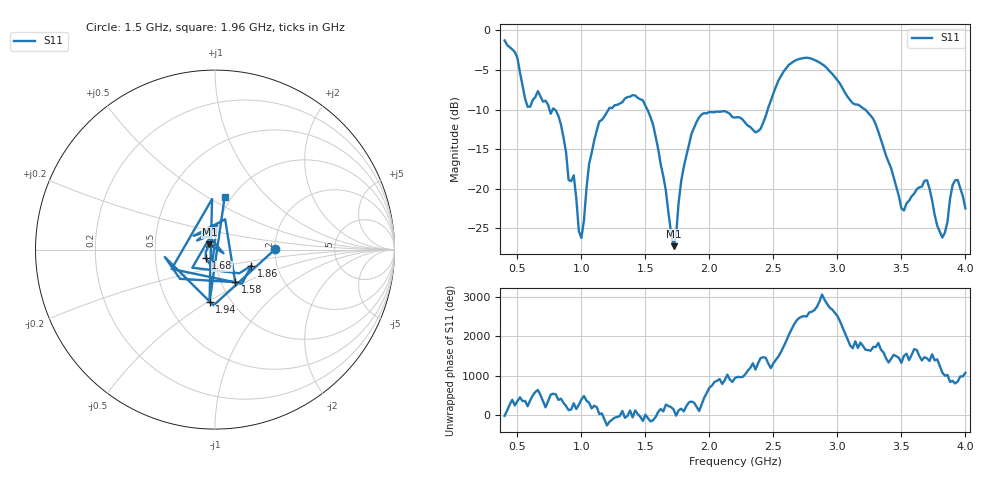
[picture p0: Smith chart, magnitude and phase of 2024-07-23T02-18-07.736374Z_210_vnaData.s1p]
!Created with skrf (http://scikit-rf.org).
# Hz S RI R 50.0
!freq ReS11 ImS11
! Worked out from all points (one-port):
!   181 points, 400 MHz to 4 GHz, reference 50 ohm
!   lowest |S11| = -27.3 dB at 1.72 GHz (marker M1), VSWR 1.09, Z = 46.9 + j2.82 ohm
!   |S11| at or under -10 dB: 791.1 MHz to 1.212 GHz (421 MHz wide, 42 % of centre); 1.515 GHz to 2.456 GHz (940.3 MHz wide, 47.4 % of centre); 3.217 GHz to end of sweep (the widest 3 of 4)
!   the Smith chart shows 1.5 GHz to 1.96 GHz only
!   S11 on the Smith chart (normalised r, x): 1.5 GHz: 2.00, +0.01; 1.58 GHz: 1.16, -0.44; 1.68 GHz: 0.90, -0.09; 1.86 GHz: 1.48, -0.28; 1.94 GHz: 0.80, -0.51; 1.96 GHz: 0.93, +0.60
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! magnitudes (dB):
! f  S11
! 400 MHz  -1.3
! 500 MHz  -3.5
! 580 MHz  -9.7
! 660 MHz  -7.7
! 860 MHz  -13.5
! 1 GHz  -26.2
! 1.06 GHz  -16.9
! 1.14 GHz  -11.5
! 1.3 GHz  -9.2
! 1.5 GHz  -9.5
! 1.58 GHz  -13.4
! 1.68 GHz  -23.1
! 1.72 GHz  -27.3
! 1.76 GHz  -21.7
! 1.86 GHz  -13.1
! 1.94 GHz  -10.6
! 1.96 GHz  -10.4
! 2.2 GHz  -11.0
! 2.4 GHz  -12.4
! 2.66 GHz  -3.9
! 3.1 GHz  -8.8
! 3.28 GHz  -11.2
! 3.5 GHz  -22.5
! 3.56 GHz  -21.5
! 3.7 GHz  -18.9
! 3.82 GHz  -26.2
! 3.92 GHz  -18.9
! 4 GHz  -22.5
